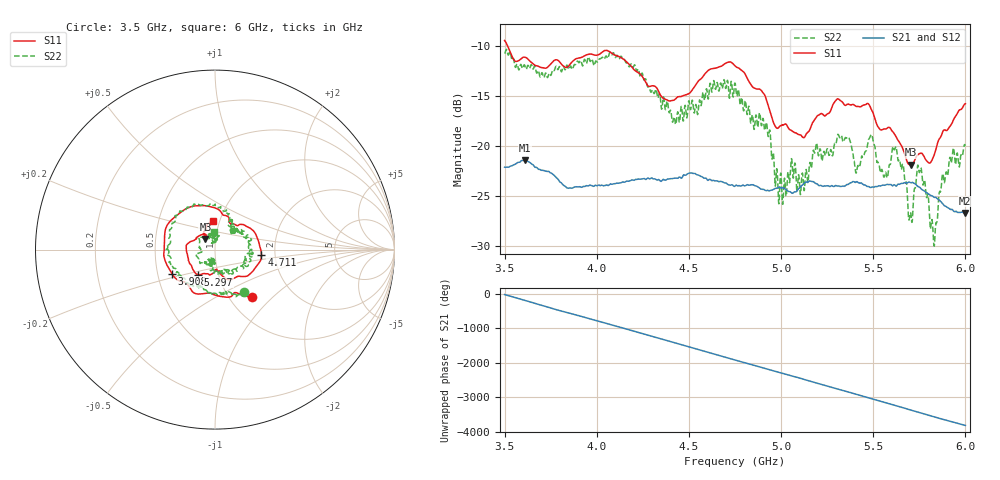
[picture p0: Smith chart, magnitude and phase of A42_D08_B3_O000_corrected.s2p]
! Created with skrf 1.9.0 (http://scikit-rf.org).
# Hz S RI R 50.0
!freq ReS11 ImS11 ReS21 ImS21 ReS12 ImS12 ReS22 ImS22
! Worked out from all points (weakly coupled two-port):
!   1601 points, 3.5 GHz to 6 GHz, reference 50 ohm
!   highest |S21| = -21.46 dB at 3.611 GHz (marker M1); lowest = -26.7 dB at 5.995 GHz (marker M2)
!   lowest |S11| = -21.9 dB at 5.705 GHz (marker M3), VSWR 1.17, Z = 44.6 + j5.36 ohm
!   |S11| at or under -10 dB: 3.515 GHz to end of sweep
!   |S22| runs from -30.1 to -10.4 dB; largest |S21 - S12| = 0.00099
!   S11 on the Smith chart (normalised r, x): 3.5 GHz: 1.27, -0.76; 3.908 GHz: 0.60, -0.17; 4.711 GHz: 1.69, -0.11; 5.297 GHz: 0.80, -0.23; 6 GHz: 0.93, +0.31
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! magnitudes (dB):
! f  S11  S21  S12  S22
! 3.5 GHz  -9.5  -22.2  -22.1  -10.8
! 3.611 GHz  -11.2  -21.5  -21.5  -12.1
! 3.908 GHz  -11.2  -24.1  -24.1  -11.6
! 3.917 GHz  -11.2  -24.2  -24.2  -11.7
! 4.334 GHz  -14.6  -23.4  -23.4  -15.2
! 4.42 GHz  -15.4  -23.3  -23.3  -17.1
! 4.711 GHz  -11.7  -23.9  -23.9  -13.6
! 4.75 GHz  -12.0  -24.1  -24.0  -13.8
! 4.93 GHz  -16.0  -24.5  -24.5  -19.1
! 4.998 GHz  -18.0  -24.2  -24.2  -22.8
! 5.167 GHz  -17.9  -23.6  -23.6  -21.9
! 5.297 GHz  -15.5  -24.0  -24.0  -19.9
! 5.412 GHz  -16.1  -23.6  -23.6  -22.3
! 5.487 GHz  -16.3  -24.2  -24.1  -18.9
! 5.584 GHz  -18.2  -23.9  -23.9  -22.2
! 5.619 GHz  -19.0  -24.0  -24.0  -20.3
! 5.705 GHz  -21.9  -23.7  -23.7  -26.9
! 5.752 GHz  -20.8  -24.2  -24.2  -22.7
! 5.836 GHz  -20.7  -25.2  -25.1  -28.8
! 5.87 GHz  -19.0  -25.7  -25.6  -23.9
! 5.995 GHz  -15.9  -26.7  -26.7  -19.9
! 6 GHz  -15.8  -26.7  -26.7  -20.0
